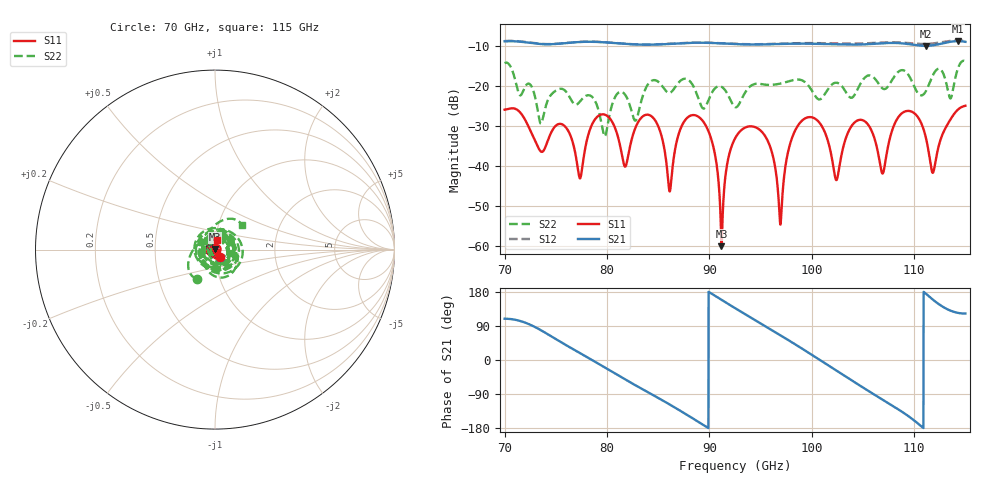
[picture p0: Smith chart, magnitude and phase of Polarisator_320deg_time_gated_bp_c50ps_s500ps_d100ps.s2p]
# Hz S RI R 1.000000
! Metas.Vna.Tools, 2.4.7898.19887
! Metas.Vna.Data, 2.4.7898.19873
! Created: UTC 2021.09.30 14:31:00
! FREQ  re:S1,1  im:S1,1  re:S2,1  im:S2,1  re:S1,2  im:S1,2  re:S2,2  im:S2,2
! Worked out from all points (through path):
!   2251 points, 70 GHz to 115 GHz, reference 1 ohm
!   highest |S21| = -8.85 dB at 114.3 GHz (marker M1); lowest = -10.0 dB at 111.1 GHz (marker M2)
!   lowest |S11| = -60.0 dB at 91.18 GHz (marker M3), VSWR 1.00, Z = 1 + j0.00198 ohm
!   |S11| at or under -10 dB: start of sweep to end of sweep
!   |S22| runs from -32.6 to -13.7 dB; largest |S21 - S12| = 0.1
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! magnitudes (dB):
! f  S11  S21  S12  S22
! 70 GHz  -26.0  -8.9  -8.8  -14.4
! 73.54 GHz  -36.4  -9.6  -9.5  -29.4
! 75.64 GHz  -29.6  -9.4  -9.4  -20.8
! 77.5 GHz  -41.8  -9.0  -9.0  -23.5
! 79.24 GHz  -27.4  -9.1  -9.0  -26.8
! 81.76 GHz  -40.2  -9.5  -9.5  -22.2
! 85 GHz  -30.1  -9.7  -9.6  -19.0
! 86.12 GHz  -46.4  -9.5  -9.5  -21.8
! 89.42 GHz  -29.0  -9.2  -9.2  -25.7
! 91.18 GHz  -60.0  -9.4  -9.4  -20.2
! 92.5 GHz  -33.1  -9.6  -9.5  -25.3
! 95.42 GHz  -32.5  -9.6  -9.6  -19.7
! 96.94 GHz  -54.6  -9.5  -9.5  -19.4
! 98.04 GHz  -33.2  -9.5  -9.4  -18.7
! 100 GHz  -27.9  -9.5  -9.3  -21.2
! 102.4 GHz  -43.5  -9.6  -9.4  -19.2
! 104.4 GHz  -28.8  -9.7  -9.4  -21.4
! 107.5 GHz  -34.4  -9.3  -9.1  -19.9
! 111.1 GHz  -32.7  -10.0  -9.5  -21.4
! 111.9 GHz  -41.6  -9.9  -9.4  -17.2
! 114.3 GHz  -26.0  -8.8  -8.7  -15.7
! 115 GHz  -25.0  -9.0  -8.8  -13.9
